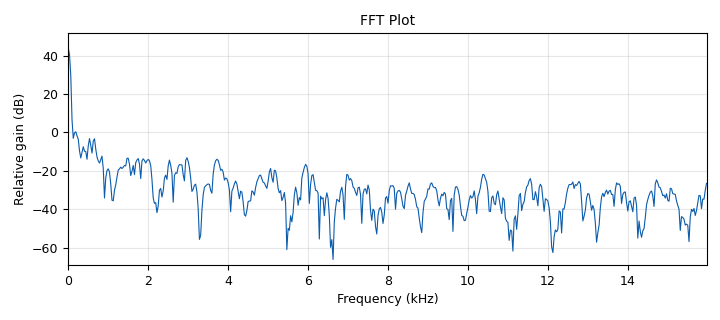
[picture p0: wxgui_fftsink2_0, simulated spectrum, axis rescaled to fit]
<?xml version='1.0' encoding='utf-8'?>
<flow_graph>
<block>
<key>options</key>
<param><key>id</key><value>top_block</value></param>
<param><key>generate_options</key><value>wx_gui</value></param>
<param><key>category</key><value>Custom</value></param>
</block>
<block>
<key>variable</key>
<param><key>id</key><value>samp_rate</value></param>
<param><key>value</key><value>32000</value></param>
</block>
<block>
<key>gr_noise_source_x</key>
<param><key>id</key><value>gr_noise_source_x_0</value></param>
<param><key>type</key><value>float</value></param>
<param><key>noise_type</key><value>gr.GR_GAUSSIAN</value></param>
<param><key>amp</key><value>1</value></param>
<param><key>seed</key><value>0</value></param>
</block>
<block>
<key>gr_sig_source_x</key>
<param><key>id</key><value>gr_sig_source_x_0</value></param>
<param><key>type</key><value>float</value></param>
<param><key>samp_rate</key><value>samp_rate</value></param>
<param><key>waveform</key><value>gr.GR_TRI_WAVE</value></param>
<param><key>freq</key><value>1</value></param>
<param><key>amp</key><value>5</value></param>
<param><key>offset</key><value>5</value></param>
</block>
<block>
<key>gr_moving_average_xx</key>
<param><key>id</key><value>gr_moving_average_xx_0</value></param>
<param><key>type</key><value>float</value></param>
<param><key>length</key><value>30</value></param>
<param><key>scale</key><value>1</value></param>
<param><key>max_iter</key><value>4000</value></param>
</block>
<block>
<key>gr_add_xx</key>
<param><key>id</key><value>gr_add_xx_0</value></param>
<param><key>type</key><value>float</value></param>
<param><key>num_inputs</key><value>2</value></param>
<param><key>vlen</key><value>1</value></param>
</block>
<block>
<key>gr_sub_xx</key>
<param><key>id</key><value>gr_sub_xx_0</value></param>
<param><key>type</key><value>float</value></param>
<param><key>vlen</key><value>1</value></param>
<param><key>num_inputs</key><value>2</value></param>
</block>
<block>
<key>gr_throttle</key>
<param><key>id</key><value>gr_throttle_0</value></param>
<param><key>type</key><value>float</value></param>
<param><key>samples_per_second</key><value>samp_rate</value></param>
<param><key>vlen</key><value>1</value></param>
</block>
<block>
<key>wxgui_fftsink2</key>
<param><key>id</key><value>wxgui_fftsink2_0</value></param>
<param><key>type</key><value>float</value></param>
<param><key>title</key><value>FFT Plot</value></param>
<param><key>samp_rate</key><value>samp_rate</value></param>
<param><key>baseband_freq</key><value>0</value></param>
<param><key>y_per_div</key><value>10</value></param>
<param><key>y_divs</key><value>10</value></param>
<param><key>ref_level</key><value>0</value></param>
<param><key>ref_scale</key><value>2.0</value></param>
<param><key>fft_size</key><value>1024</value></param>
<param><key>fft_rate</key><value>15</value></param>
<param><key>peak_hold</key><value>False</value></param>
<param><key>average</key><value>False</value></param>
<param><key>avg_alpha</key><value>0</value></param>
<param><key>win</key><value>None</value></param>
<param><key>freqvar</key><value>None</value></param>
</block>
<connection><source_block_id>gr_noise_source_x_0</source_block_id><sink_block_id>gr_add_xx_0</sink_block_id><source_key>0</source_key><sink_key>1</sink_key></connection>
<connection><source_block_id>gr_sig_source_x_0</source_block_id><sink_block_id>gr_add_xx_0</sink_block_id><source_key>0</source_key><sink_key>0</sink_key></connection>
<connection><source_block_id>gr_add_xx_0</source_block_id><sink_block_id>gr_moving_average_xx_0</sink_block_id><source_key>0</source_key><sink_key>0</sink_key></connection>
<connection><source_block_id>gr_moving_average_xx_0</source_block_id><sink_block_id>gr_sub_xx_0</sink_block_id><source_key>0</source_key><sink_key>0</sink_key></connection>
<connection><source_block_id>gr_add_xx_0</source_block_id><sink_block_id>gr_sub_xx_0</sink_block_id><source_key>0</source_key><sink_key>1</sink_key></connection>
<connection><source_block_id>gr_sub_xx_0</source_block_id><sink_block_id>gr_throttle_0</sink_block_id><source_key>0</source_key><sink_key>0</sink_key></connection>
<connection><source_block_id>gr_throttle_0</source_block_id><sink_block_id>wxgui_fftsink2_0</sink_block_id><source_key>0</source_key><sink_key>0</sink_key></connection>
</flow_graph>
